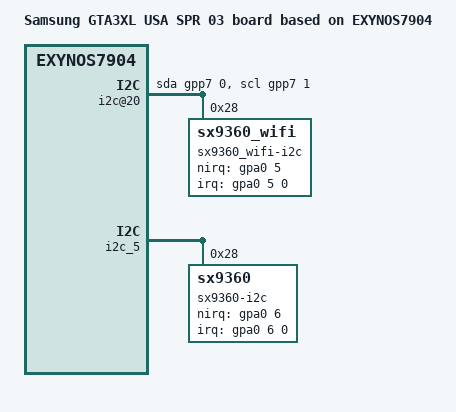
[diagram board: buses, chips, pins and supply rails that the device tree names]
/*
 * SAMSUNG EXYNOS7904 board device tree source

 *
 * Copyright (c) 2018 Samsung Electronics Co., Ltd.
 *		http://www.samsung.com
 *
 * This program is free software; you can redistribute it and/or modify
 * it under the terms of the GNU General Public License version 2 as
 * published by the Free Software Foundation.
*/

/dts-v1/;
/plugin/;

#include "exynos7904-gta3xl_common.dtsi"
#include "exynos7904-gta3xl_usa_spr_gpio_04.dtsi"
#include "ccic-s2mm005_gta3xllte_00.dtsi"
#include "modem-s327ap-sipc-highmem.dtsi"
#include "battery_data_gta3xl_usa_spr_04.dtsi"
#include "display-lcd_gta3xl_usa_spr.dtsi"

/ {
	compatible = "samsung,GTA3XL USA SPR 03", "samsung,EXYNOS7904";

	dtbo-hw_rev = <4>;
    dtbo-hw_rev_end = <255>;


	fragment@model {
		target-path = "/";
		__overlay__ {
			#address-cells = <2>;
			#size-cells = <1>;

			model = "Samsung GTA3XL USA SPR 03 board based on EXYNOS7904";

			i2c@20 {
				compatible = "i2c-gpio";
				gpios = <&gpp7 0 0
						&gpp7 1 0>;
				i2c-gpio,delay-us = <2>;
				pinctrl-names = "default";
				pinctrl-0 = <&grip_i2c>;
				#address-cells = <1>;
				#size-cells = <0>;
				status = "okay";

				sx9360_wifi-i2c@28 {
					compatible = "sx9360_wifi";
					pinctrl-names = "default";
					pinctrl-0 = <&grip_wifi_int>;
					reg = <0x28>;
					interrupt-parent = <&gpa0>;
					interrupts = <5 0 0>;
					sx9360_wifi,nirq-gpio = <&gpa0 5 0>; 

					sx9360_wifi,reggnrlctrl2 = <0x28>;		/* scanperiod: 81ms */
					sx9360_wifi,regafeparam1phm = <0x12>;	/* again : 9 pF, sampling freq : 167 khz */
					sx9360_wifi,regproxctrl0phm = <0x21>;	/* gain: x4, rawfilt : 1-1/2 */
					sx9360_wifi,regproxctrl5 = <0x37>;		/* threshold: 1512 */
					sx9360_wifi,regproxctrl4 = <0x15>;		/* hysteresis: small, closedeb: 2 samples, fardeb: 2 samples */
					sx9360_wifi,regproxctrl3 = <0x0D>;		/* AVGPOSFILT: 1/512, AVGNEGFILT: 1/2 */
					sx9360_wifi,regafeparam0phm = <0x0E>;	/* resolution: 512 */
				};
			};

		}; /* end of __overlay__ */
	}; /* end of fragment */
}; /* end of root */

&i2c_5 {
	status = "okay";
	#address-cells = <1>;
	#size-cells = <0>;
	pinctrl-names = "default";
	pinctrl-0 = <&i2c5_bus>;

	sx9360-i2c@28 {
		compatible = "sx9360";
		pinctrl-names = "default";
		pinctrl-0 = <&grip_int>;
		reg = <0x28>;
		interrupt-parent = <&gpa0>;
		interrupts = <6 0 0>;
		sx9360,nirq-gpio = <&gpa0 6 0>;

		sx9360,reggnrlctrl2 = <0x28>;		/* scanperiod: 81ms */
		sx9360,regafeparam1phm = <0x24>;	/* again : 9 pF, sampling freq : 125 khz */
		sx9360,regproxctrl0phm = <0x21>;	/* gain: x4, rawfilt : 1-1/2 */
		sx9360,regproxctrl5 = <0x31>;		/* threshold: 1200 */
		sx9360,regproxctrl4 = <0x15>;		/* hysteresis: small, closedeb: 2 samples, fardeb: 2 samples */
		sx9360,regproxctrl3 = <0x0D>;		/* AVGPOSFILT: 1/512, AVGNEGFILT: 1/2 */
		sx9360,regafeparam0phm = <0x0E>;	/* resolution: 512 */
	};
};

